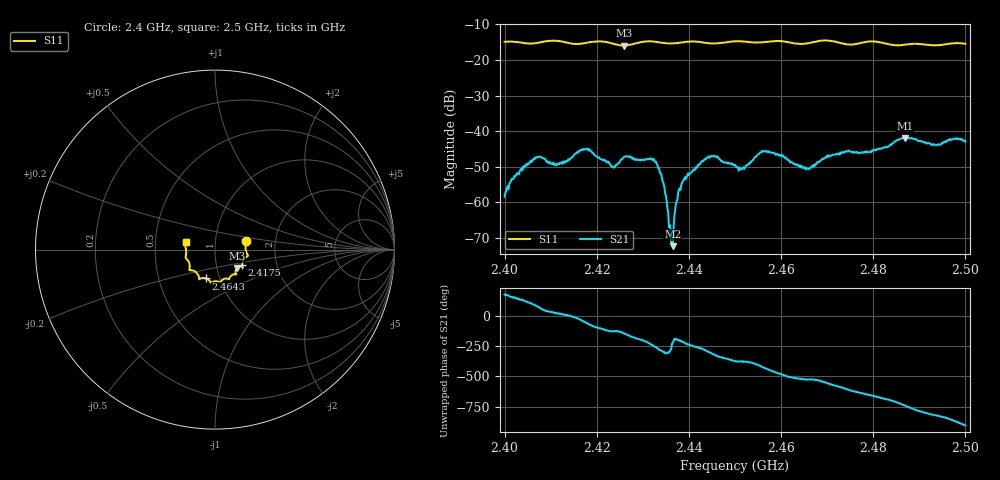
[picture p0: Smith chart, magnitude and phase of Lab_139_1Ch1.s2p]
# Hz S RI R 50
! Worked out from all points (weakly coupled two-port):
!   601 points, 2.4 GHz to 2.5 GHz, reference 50 ohm
!   highest |S21| = -41.90 dB at 2.4868 GHz (marker M1); lowest = -72.3 dB at 2.4365 GHz (marker M2)
!   lowest |S11| = -15.9 dB at 2.4258 GHz (marker M3), VSWR 1.38, Z = 62.3 - j13.2 ohm
!   |S11| at or under -10 dB: start of sweep to end of sweep
!   S12 and S22 are empty: the file has one direction only
!   S11 on the Smith chart (normalised r, x): 2.4 GHz: 1.41, +0.14; 2.4175 GHz: 1.34, -0.23; 2.4643 GHz: 0.86, -0.29; 2.5 GHz: 0.72, +0.06
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2.4e9  0.1733 0.0493  -0.0012 4.17e-05  0 0  0 0
2.4065e9  0.1718 -0.00386  -5.13e-05 0.00404  0 0  0 0
2.411333e9  0.183 -0.0354  0.00315 0.00143  0 0  0 0
2.416667e9  0.1527 -0.0741  0.00435 -0.00314  0 0  0 0
2.4175e9  0.1519 -0.0836  0.00342 -0.00439  0 0  0 0
2.4235e9  0.1417 -0.0936  -0.00186 -0.00251  0 0  0 0
2.425833e9  0.1219 -0.1031  -0.00345 -0.00255  0 0  0 0
2.433333e9  0.1135 -0.1371  6.91e-05 0.00301  0 0  0 0
2.434667e9  0.1047 -0.1374  0.000772 0.00146  0 0  0 0
2.436e9  0.0944 -0.1426  8.72e-05 0.000413  0 0  0 0
2.4365e9  0.0906 -0.1454  -0.000189 0.00015  0 0  0 0
2.4375e9  0.0845 -0.1513  -0.00105 0.000297  0 0  0 0
2.439333e9  0.0797 -0.1613  -0.00138 0.00161  0 0  0 0
2.444667e9  0.0587 -0.1612  0.00246 0.00371  0 0  0 0
2.45e9  0.0288 -0.1815  0.00325 -0.000832  0 0  0 0
2.451667e9  0.0238 -0.1809  0.00297 -0.000776  0 0  0 0
2.456333e9  -0.00898 -0.1786  0.0019 -0.00487  0 0  0 0
2.464333e9  -0.0499 -0.1608  -0.00314 -0.000967  0 0  0 0
2.466667e9  -0.0763 -0.1592  -0.00308 -0.000805  0 0  0 0
2.483333e9  -0.1405 -0.0898  0.00538 0.00282  0 0  0 0
2.486833e9  -0.1542 -0.0565  0.00751 -0.00288  0 0  0 0
2.5e9  -0.1635 0.0425  -0.00708 0.000849  0 0  0 0
